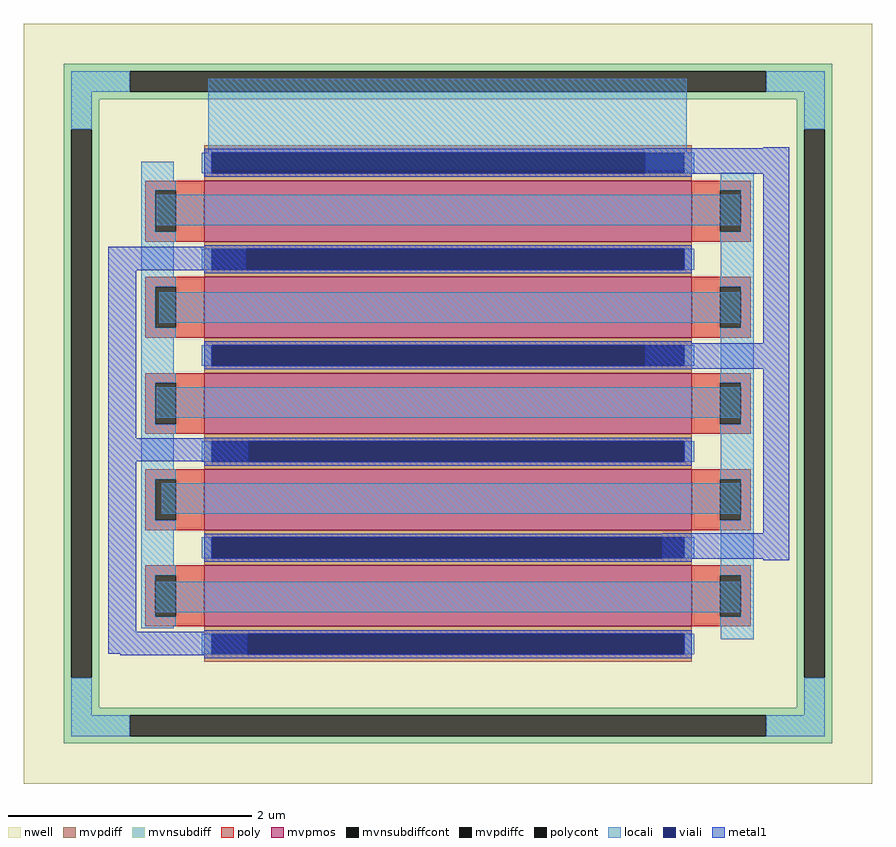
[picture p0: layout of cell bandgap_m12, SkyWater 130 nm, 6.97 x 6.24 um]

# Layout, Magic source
magic
tech sky130A
magscale 1 2
<< locali >>
rect 202 916 988 1064
rect 118 824 1082 874
rect 122 664 1086 714
rect 118 508 1082 558
rect 126 350 1090 400
rect 114 188 1078 238
<< metal1 >>
rect 1114 950 1156 952
rect 920 908 1156 950
rect 38 750 264 788
rect 38 474 84 750
rect 1114 630 1156 908
rect 920 588 1156 630
rect 38 436 268 474
rect 38 156 84 436
rect 1114 318 1156 588
rect 948 276 1156 318
rect 1114 274 1156 276
rect 38 120 266 156
rect 58 118 266 120
use sky130_fd_pr__pfet_g5v0d10v5_DQLY7V  sky130_fd_pr__pfet_g5v0d10v5_DQLY7V_1
transform 0 1 596 -1 0 531
box -624 -697 624 697
<< end >>

# cell sky130_fd_pr__pfet_g5v0d10v5_DQLY7V: kit device sky130_fd_pr__pfet_g5v0d10v5, w 4 l 0.5 m 1 nf 5 diffcov 100 polycov 100 guard 1 glc 1 grc 1 gtc 1 gbc 1 tbcov 100 rlcov 100 topc 1 botc 1 poverlap 0 doverlap 1 lmin 0.50 wmin 0.42 class mosfet compatible {sky130_fd_pr__pfet_01v8 sky130_fd_pr__pfet_01v8_lvt sky130_fd_pr__pfet_01v8_hvt sky130_fd_pr__pfet_g5v0d10v5} full_metal 1 conn_gates 0 viasrc 100 viadrn 100 viagate 100 viagb 0 viagr 0 viagl 0 viagt 0 doports 1
